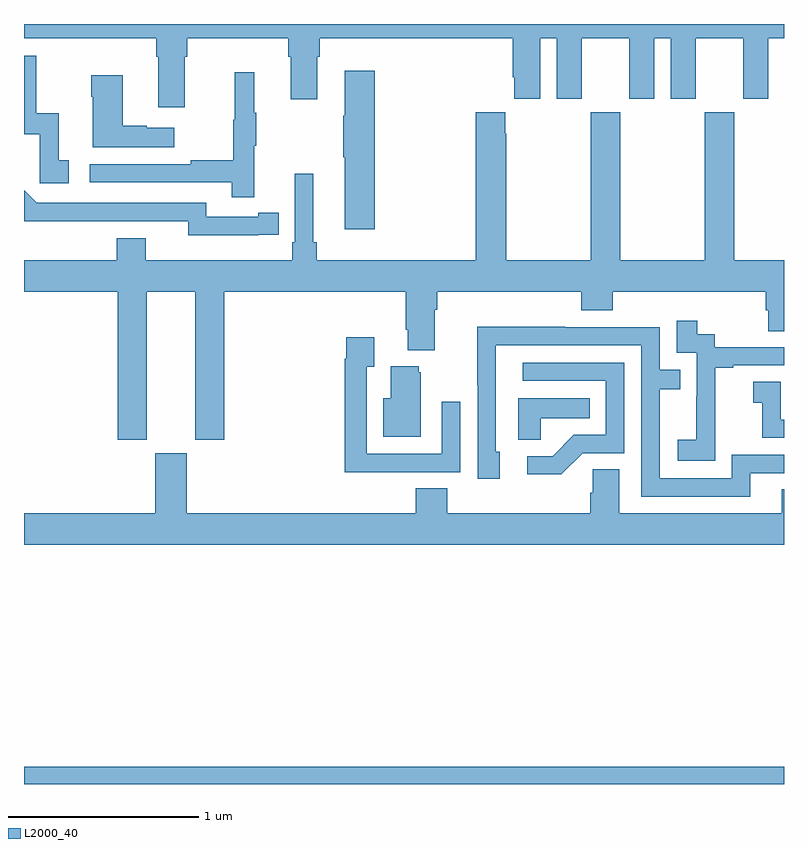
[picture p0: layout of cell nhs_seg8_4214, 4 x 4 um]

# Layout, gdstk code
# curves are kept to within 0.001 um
import gdstk
lib = gdstk.Library(unit=1e-6, precision=1e-09)
def R(c, l, rs):  # rectangles x0, y0, x1, y1
    for r in rs: c.add(gdstk.rectangle(r[:2], r[2:], *l))
def P(c, l, *ps):  # polygons
    for p in ps: c.add(gdstk.Polygon(p, *l))
L2000_40 = (2000, 40)

nhs_seg8_4214 = lib.new_cell('nhs_seg8_4214')
R(nhs_seg8_4214, L2000_40, [(369,1121.9,373,1121.992)])
P(nhs_seg8_4214, L2000_40, [(369.847,1125.728),(369.86,1125.728),(369.86,1125.824),(370.391,1125.824),(370.391,1125.728),(370.403,1125.728),(370.403,1125.504),(370.543,1125.504),(370.543,1125.728),(370.556,1125.728),(370.556,1125.824),(371.573,1125.824),(371.573,1125.619),(371.579,1125.619),(371.579,1125.507),(371.716,1125.507),(371.716,1125.824),(371.804,1125.824),(371.804,1125.507),(371.935,1125.507),(371.935,1125.824),(372.185,1125.824),(372.185,1125.507),(372.316,1125.507),(372.316,1125.824),(372.404,1125.824),(372.404,1125.507),(372.535,1125.507),(372.535,1125.824),(372.785,1125.824),(372.785,1125.507),(372.916,1125.507),(372.916,1125.824),(373,1125.824),(373,1125.9),(369,1125.9),(369,1125.824),(369.695,1125.824),(369.695,1125.728),(369.707,1125.728),(369.707,1125.462),(369.847,1125.462)],
  [(369.235,1125.183),(369.182,1125.183),(369.182,1125.43),(369.064,1125.43),(369.064,1125.732),(369,1125.732),(369,1125.321),(369.084,1125.321),(369.084,1125.063),(369.235,1125.063)],
  [(370.847,1125.655),(370.688,1125.655),(370.688,1125.416),(370.681,1125.416),(370.681,1125.199),(370.688,1125.199),(370.688,1124.82),(370.847,1124.82)],
  [(370.211,1125.259),(370.222,1125.259),(370.222,1125.433),(370.211,1125.433),(370.211,1125.646),(370.108,1125.646),(370.108,1125.396),(370.101,1125.396),(370.101,1125.182),(369.877,1125.182),(369.877,1125.162),(369.345,1125.162),(369.345,1125.066),(370.093,1125.066),(370.093,1124.988),(370.211,1124.988)],
  [(369.79,1125.355),(369.647,1125.355),(369.647,1125.365),(369.52,1125.365),(369.52,1125.631),(369.355,1125.631),(369.355,1125.518),(369.362,1125.518),(369.362,1125.251),(369.79,1125.251)],
  [(369.646,1124.492),(369.902,1124.492),(369.902,1123.713),(370.055,1123.713),(370.055,1124.492),(371.009,1124.492),(371.009,1124.29),(371.021,1124.29),(371.021,1124.183),(371.161,1124.183),(371.161,1124.396),(371.174,1124.396),(371.174,1124.492),(371.933,1124.492),(371.933,1124.393),(372.098,1124.393),(372.098,1124.492),(372.905,1124.492),(372.905,1124.394),(372.917,1124.394),(372.917,1124.284),(373,1124.284),(373,1124.656),(372.738,1124.656),(372.738,1125.436),(372.583,1125.436),(372.583,1124.656),(372.138,1124.656),(372.138,1125.436),(371.983,1125.436),(371.983,1124.656),(371.538,1124.656),(371.538,1125.323),(371.533,1125.323),(371.533,1125.436),(371.378,1125.436),(371.378,1124.656),(370.541,1124.656),(370.541,1124.752),(370.522,1124.752),(370.522,1125.112),(370.425,1125.112),(370.425,1124.752),(370.412,1124.752),(370.412,1124.656),(369.64,1124.656),(369.64,1124.773),(369.488,1124.773),(369.488,1124.656),(369,1124.656),(369,1124.492),(369.494,1124.492),(369.494,1123.713),(369.646,1123.713)],
  [(370.232,1124.79),(370.34,1124.79),(370.34,1124.906),(370.232,1124.906),(370.232,1124.886),(369.96,1124.886),(369.96,1124.958),(369.066,1124.958),(369,1125.024),(369,1124.861),(369.864,1124.862),(369.864,1124.789)],
  [(372.639,1123.807),(372.638,1123.807),(372.638,1124.091),(372.733,1124.091),(372.733,1124.103),(373,1124.103),(373,1124.199),(372.636,1124.199),(372.636,1124.268),(372.544,1124.268),(372.544,1124.338),(372.435,1124.338),(372.435,1124.169),(372.54,1124.169),(372.54,1123.94),(372.539,1123.94),(372.539,1123.711),(372.441,1123.711),(372.441,1123.601),(372.639,1123.601)],
  [(372.823,1123.536),(373,1123.536),(373,1123.632),(372.726,1123.632),(372.726,1123.509),(372.345,1123.509),(372.345,1123.978),(372.455,1123.978),(372.455,1124.079),(372.345,1124.079),(372.345,1124.304),(371.849,1124.304),(371.849,1124.306),(371.386,1124.306),(371.386,1123.999),(371.388,1123.999),(371.388,1123.506),(371.503,1123.506),(371.503,1123.65),(371.484,1123.65),(371.484,1124.208),(372.249,1124.208),(372.249,1123.413),(372.823,1123.413)],
  [(370.979,1123.542),(371.295,1123.542),(371.295,1123.912),(371.199,1123.912),(371.199,1123.638),(370.803,1123.638),(370.803,1124.095),(370.843,1124.095),(370.843,1124.251),(370.695,1124.251),(370.695,1124.138),(370.687,1124.138),(370.687,1123.541),(370.979,1123.541)],
  [(371.94,1123.641),(372.159,1123.641),(372.159,1124.118),(371.625,1124.118),(371.625,1124.022),(372.063,1124.022),(372.063,1123.737),(371.894,1123.737),(371.783,1123.626),(371.649,1123.626),(371.649,1123.529),(371.827,1123.529)],
  [(371.089,1124.067),(371.078,1124.067),(371.078,1124.098),(370.931,1124.098),(370.931,1123.93),(370.892,1123.93),(370.892,1123.727),(371.089,1123.727)],
  [(373,1123.818),(372.984,1123.818),(372.984,1124.017),(372.837,1124.017),(372.837,1123.907),(372.886,1123.907),(372.886,1123.722),(373,1123.722)],
  [(371.721,1123.826),(371.978,1123.826),(371.978,1123.93),(371.6,1123.93),(371.6,1123.711),(371.721,1123.711)],
  [(373,1123.451),(372.989,1123.451),(372.989,1123.324),(372.133,1123.324),(372.133,1123.556),(371.994,1123.556),(371.994,1123.433),(371.981,1123.433),(371.981,1123.324),(371.228,1123.324),(371.228,1123.457),(371.063,1123.457),(371.063,1123.324),(369.856,1123.324),(369.856,1123.641),(369.692,1123.641),(369.692,1123.324),(369,1123.324),(369,1123.16),(373,1123.16)])

lib.write_gds('nhs_seg8_4214.gds')
